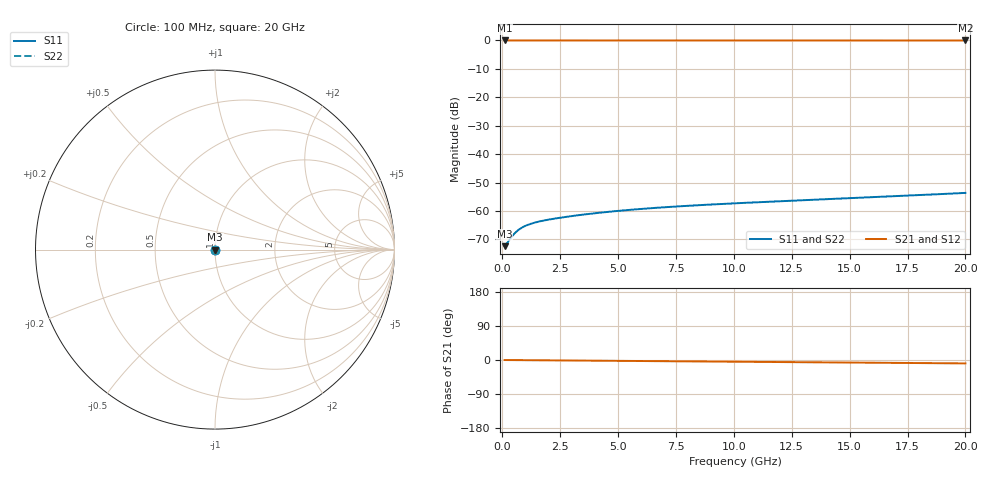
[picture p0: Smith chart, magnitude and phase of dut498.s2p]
! Touchstone file exported from HFSS 2026.1.0
!  File:  C:/ffzhzh/LocalFiles/Ansys_Project_Files/temp_train_TSV_498_1783022982_46388.aedt
!  Generated:  04:11:44 AM Jul  3, 2026
!  Design:  TSV
!  Project:  temp_train_TSV_498_1783022982_46388
! Variables:
!  h_bsmrdl = 2um
!  h_ox = 20um
!  h_rdl = 5um
!  h_sub = 95.07um
!  h_tmrdl = 5um
!  h_tsv = 95.07um
!  h_via = 3um
!  l_bsmrdl = 300um
!  l_sub = 415.02um
!  l_tmrdl = 200um
!  m_sub = 200um
!  pitch = 30.68um
!  r_tsv = 7.51um
!  s_tmrdl = 10um
!  w_bsmrdl = 18um
!  w_sub = 500um
!  w_tmrdl = 12um
!  x_tsv_center1 = 206um
!  x_tsv_center2 = 524um
!  x_tsv_center3 = 736um
!  x_tsv_center4 = 1054um
!  x_tsv_center5 = 1266um
!  x_tsv_center6 = 1584um
# GHz S MA R 50.000000
! Terminal data exported
! Port[1] = TSV1_1_T1
! Port[2] = TSV1_1_T2
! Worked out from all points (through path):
!   200 points, 100 MHz to 20 GHz, reference 50 ohm
!   highest |S21| = 0.00 dB at 100 MHz (marker M1); lowest = 0.0 dB at 20 GHz (marker M2)
!   group delay of S21, straight-line fit = 1.24 ps
!   lowest |S11| = -72.4 dB at 100 MHz (marker M3), VSWR 1.00, Z = 50 + j0.00527 ohm
!   |S11| at or under -10 dB: start of sweep to end of sweep
!   |S22| runs from -72.4 to -53.6 dB; largest |S21 - S12| = 4.8e-15
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0.1  0.000241 12.6  0.9998 -0.0  0.9998 -0.0  0.000241 12.6
! Gamma 0 0 0 0
! Port Impedance 50 0 50 0
0.2  0.0002699 22.3  0.9998 -0.1  0.9998 -0.1  0.0002699 22.3
0.4  0.0003511 31.4  0.9997 -0.2  0.9997 -0.2  0.0003511 31.4
0.5  0.0003925 32.8  0.9997 -0.2  0.9997 -0.2  0.0003925 32.8
0.6  0.0004309 33.2  0.9996 -0.3  0.9996 -0.3  0.0004309 33.2
0.7  0.0004657 33.0  0.9996 -0.3  0.9996 -0.3  0.0004657 33.0
0.8  0.0004967 32.4  0.9996 -0.4  0.9996 -0.4  0.0004967 32.4
0.9  0.0005243 31.7  0.9996 -0.4  0.9996 -0.4  0.0005243 31.7
1.1  0.0005708 30.3  0.9995 -0.5  0.9995 -0.5  0.0005708 30.3
1.4  0.0006252 28.3  0.9995 -0.6  0.9995 -0.6  0.0006252 28.3
1.9  0.0006942 25.9  0.9994 -0.9  0.9994 -0.9  0.0006942 25.9
2.6  0.0007734 23.6  0.9993 -1.2  0.9993 -1.2  0.0007734 23.6
3.5  0.0008658 20.8  0.9992 -1.6  0.9992 -1.6  0.0008658 20.8
4.2  0.0009334 18.5  0.9991 -1.9  0.9991 -1.9  0.0009334 18.5
5  0.001006 15.6  0.999 -2.3  0.999 -2.3  0.001006 15.6
5.9  0.001081 12.3  0.999 -2.7  0.999 -2.7  0.001081 12.3
6.8  0.001151 8.8  0.9989 -3.1  0.9989 -3.1  0.001151 8.8
8.3  0.001255 3.2  0.9988 -3.7  0.9988 -3.7  0.001255 3.2
10.1  0.00137 -3.1  0.9986 -4.5  0.9986 -4.5  0.00137 -3.1
13.4  0.001575 -13.6  0.9984 -6.0  0.9984 -6.0  0.001575 -13.6
16.7  0.001803 -22.7  0.9982 -7.5  0.9982 -7.5  0.001803 -22.7
20  0.002084 -30.8  0.9981 -9.0  0.9981 -9.0  0.002084 -30.8
